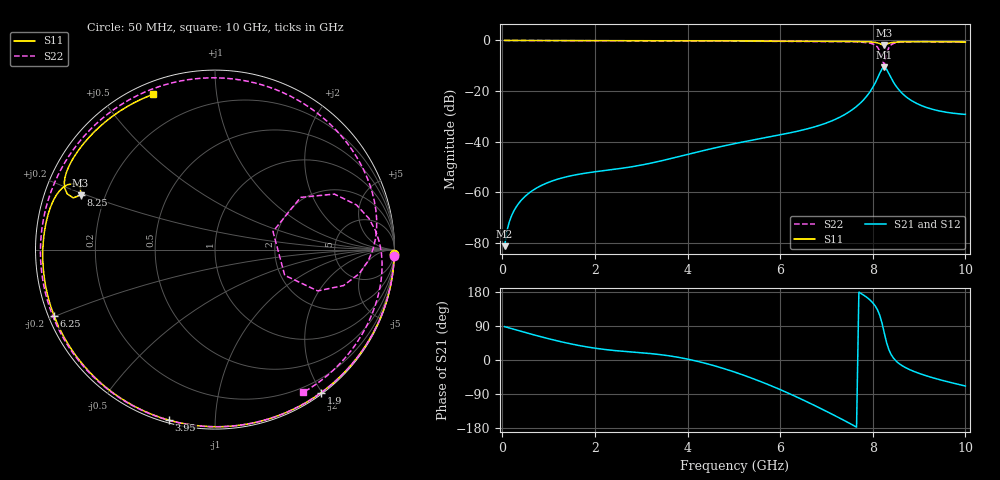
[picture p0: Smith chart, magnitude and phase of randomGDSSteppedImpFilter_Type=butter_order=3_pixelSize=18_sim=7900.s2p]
! freq	dB(S11)	phase(S11)	dB(S12)	phase(S12)
!  dB(S21)	phase(S21)	dB(S22)	phase(S22)
!S-par simulation data
#  GHz  S  DB  R 50
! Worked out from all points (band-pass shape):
!   200 points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, 50 MHz to 10 GHz, reference 50 ohm
!   highest |S21| = -10.57 dB at 8.25 GHz (marker M1); lowest = -81.2 dB at 50 MHz (marker M2)
!   |S21| within 3 dB of the highest: 8.135 GHz to 8.361 GHz (225.9 MHz wide, 2.74 % of centre)
!   lowest |S11| = -1.8 dB at 8.25 GHz (marker M3), VSWR 9.44, Z = 5.49 + j9.63 ohm
!   |S11| at or under -10 dB: nowhere
!   |S22| runs from -9.4 to 0.0 dB; largest |S21 - S12| = 0
!   S11 on the Smith chart (normalised r, x): 50 MHz: 1, -78; 1.9 GHz: 0.02, -1.99; 3.95 GHz: 0.01, -0.77; 6.25 GHz: 0.02, -0.20; 8.25 GHz: 0.11, +0.19; 10 GHz: 0.05, +0.68
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0.05  -0.00 -1.5  -81.21 88.0  -81.21 88.0  -0.01 -2.1
0.2  -0.01 -5.8  -69.20 82.9  -69.20 82.9  -0.01 -8.4
0.5  -0.02 -14.4  -61.42 72.5  -61.42 72.5  -0.02 -20.9
1  -0.03 -28.6  -55.99 56.1  -55.99 56.1  -0.05 -41.5
1.75  -0.06 -49.3  -52.51 36.2  -52.51 36.2  -0.09 -72.0
1.9  -0.07 -53.4  -52.10 33.1  -52.10 33.1  -0.10 -78.1
2.65  -0.09 -73.1  -50.27 22.5  -50.27 22.5  -0.14 -108.2
3.4  -0.12 -91.8  -47.66 14.3  -47.66 14.3  -0.18 -138.6
3.95  -0.14 -105.1  -45.22 3.6  -45.22 3.6  -0.21 -161.4
5.05  -0.19 -130.5  -40.61 -33.2  -40.61 -33.2  -0.29 150.0
5.7  -0.23 -145.1  -38.30 -62.8  -38.30 -62.8  -0.34 119.0
6.25  -0.27 -157.4  -36.32 -91.6  -36.32 -91.6  -0.38 91.8
6.7  -0.31 -167.6  -34.33 -117.4  -34.33 -117.4  -0.41 69.0
7.35  -0.38 177.2  -29.70 -157.4  -29.70 -157.4  -0.50 35.9
7.85  -0.50 164.3  -22.42 167.2  -22.42 167.2  -0.83 7.6
8.05  -0.75 158.0  -16.86 143.2  -16.86 143.2  -1.79 -9.5
8.15  -1.24 154.9  -12.98 118.3  -12.98 118.3  -4.20 -21.9
8.25  -1.85 158.0  -10.57 70.5  -10.57 70.5  -9.41 17.4
8.35  -1.11 159.4  -13.17 26.4  -13.17 26.4  -2.69 24.9
8.5  -0.65 154.2  -17.96 -2.3  -17.96 -2.3  -0.89 6.5
8.75  -0.54 146.5  -22.66 -22.7  -22.66 -22.7  -0.53 -10.3
10  -0.62 111.8  -29.19 -68.6  -29.19 -68.6  -0.58 -58.3
